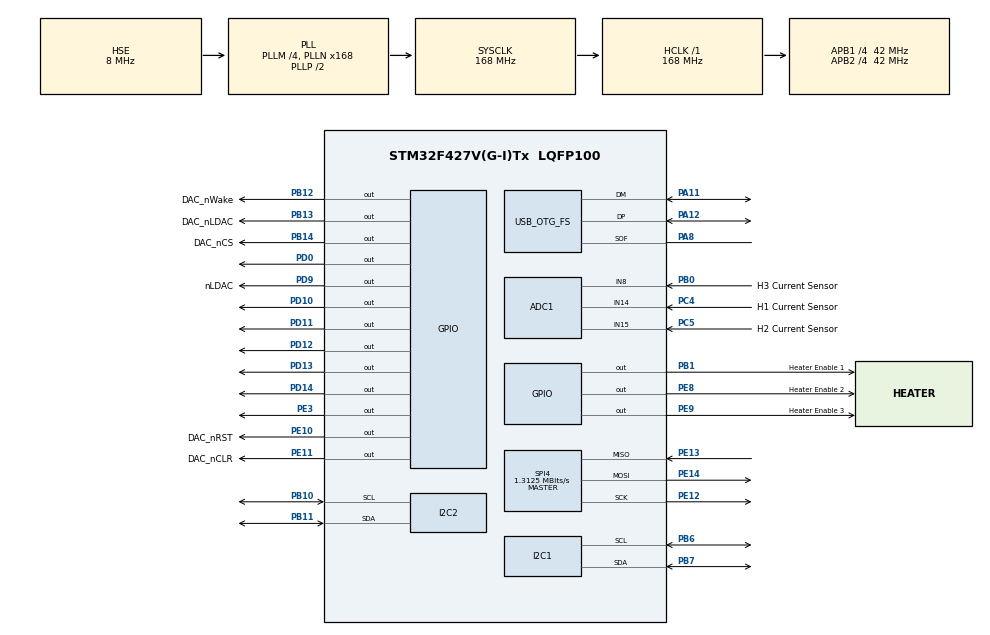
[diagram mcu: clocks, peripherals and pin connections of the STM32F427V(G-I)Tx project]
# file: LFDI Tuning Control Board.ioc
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ADC1.Channel-0\#ChannelRegularConversion=ADC_CHANNEL_14
ADC1.Channel-1\#ChannelRegularConversion=ADC_CHANNEL_15
ADC1.Channel-2\#ChannelRegularConversion=ADC_CHANNEL_8
ADC1.InjNumberOfConversion=0
ADC1.NbrOfConversion=3
ADC1.NbrOfConversionFlag=1
ADC1.Rank-0\#ChannelRegularConversion=1
ADC1.Rank-1\#ChannelRegularConversion=2
ADC1.Rank-2\#ChannelRegularConversion=3
ADC1.SamplingTime-0\#ChannelRegularConversion=ADC_SAMPLETIME_56CYCLES
ADC1.SamplingTime-1\#ChannelRegularConversion=ADC_SAMPLETIME_56CYCLES
ADC1.SamplingTime-2\#ChannelRegularConversion=ADC_SAMPLETIME_56CYCLES
ADC1.ScanConvMode=ENABLE
ADC1.master=1
Mcu.Family=STM32F4
Mcu.Name=STM32F427V(G-I)Tx
Mcu.Package=LQFP100
NVIC.I2C1_ER_IRQn=true\:0\:0\:false\:false\:true\:true\:true\:true
NVIC.I2C1_EV_IRQn=true\:0\:0\:false\:false\:true\:true\:true\:true
NVIC.OTG_FS_IRQn=true\:0\:0\:false\:false\:true\:false\:true\:true
NVIC.PriorityGroup=NVIC_PRIORITYGROUP_4
NVIC.SPI4_IRQn=true\:0\:0\:false\:false\:true\:true\:true\:true
NVIC.TIM1_BRK_TIM9_IRQn=true\:0\:0\:false\:false\:true\:true\:true\:true
NVIC.TIM2_IRQn=true\:0\:0\:false\:false\:true\:true\:true\:true
NVIC.TIM4_IRQn=true\:0\:0\:false\:false\:true\:true\:true\:true
NVIC.TIM6_DAC_IRQn=true\:0\:0\:false\:false\:true\:true\:true\:true
PA0/WKUP.Signal=UART4_TX
PA1.Signal=UART4_RX
PA11.Mode=Device_Only
PA11.Signal=USB_OTG_FS_DM
PA12.Mode=Device_Only
PA12.Signal=USB_OTG_FS_DP
PA13.Mode=Serial_Wire
PA13.Signal=SYS_JTMS-SWDIO
PA14.Mode=Serial_Wire
PA14.Signal=SYS_JTCK-SWCLK
PA4.Signal=SPI1_NSS
PA5.Signal=SPI1_SCK
PA6.Signal=SPI1_MISO
PA7.Signal=SPI1_MOSI
PA8.Mode=Activate_SOF_FS
PA8.Signal=USB_OTG_FS_SOF
PB0.GPIO_Label=H3 Current Sensor
PB0.Signal=ADCx_IN8
PB1.GPIO_Label=Heater Enable 1
PB1.Signal=GPIO_Output
PB10.Mode=I2C
PB10.Signal=I2C2_SCL
PB11.Mode=I2C
PB11.Signal=I2C2_SDA
PB12.GPIO_Label=DAC_nWake
PB12.Signal=GPIO_Output
PB13.GPIO_Label=DAC_nLDAC
PB13.Signal=GPIO_Output
PB14.GPIO_Label=DAC_nCS
PB14.Signal=GPIO_Output
PB6.Mode=I2C
PB6.Signal=I2C1_SCL
PB7.Mode=I2C
PB7.Signal=I2C1_SDA
PC10.Signal=SDIO_D2
PC11.Signal=SDIO_D3
PC12.Signal=SDIO_CK
PC4.GPIO_Label=H1 Current Sensor
PC4.Signal=ADCx_IN14
PC5.GPIO_Label=H2 Current Sensor
PC5.Signal=ADCx_IN15
PC8.Signal=SDIO_D0
PC9.Signal=SDIO_D1
PD0.Signal=GPIO_Output
PD10.Signal=GPIO_Output
PD11.Signal=GPIO_Output
PD12.Signal=GPIO_Output
PD13.Signal=GPIO_Output
PD14.Signal=GPIO_Output
PD2.Signal=SDIO_CMD
PD9.GPIO_Label=nLDAC
PD9.GPIO_Speed=GPIO_SPEED_FREQ_HIGH
PD9.PinState=GPIO_PIN_SET
PD9.Signal=GPIO_Output
PE10.GPIO_Label=DAC_nRST
PE10.GPIO_Speed=GPIO_SPEED_FREQ_HIGH
PE10.PinState=GPIO_PIN_SET
PE10.Signal=GPIO_Output
PE11.GPIO_Label=DAC_nCLR
PE11.GPIO_Speed=GPIO_SPEED_FREQ_HIGH
PE11.PinState=GPIO_PIN_SET
PE11.Signal=GPIO_Output
PE12.Mode=Full_Duplex_Master
PE12.Signal=SPI4_SCK
PE13.Mode=Full_Duplex_Master
PE13.Signal=SPI4_MISO
PE14.Mode=Full_Duplex_Master
PE14.Signal=SPI4_MOSI
PE3.Signal=GPIO_Output
PE8.GPIO_Label=Heater Enable 2
PE8.GPIO_Speed=GPIO_SPEED_FREQ_HIGH
PE8.PinState=GPIO_PIN_RESET
PE8.Signal=GPIO_Output
PE9.GPIO_Label=Heater Enable 3
PE9.GPIO_Speed=GPIO_SPEED_FREQ_HIGH
PE9.PinState=GPIO_PIN_SET
PE9.Signal=GPIO_Output
PH0/OSC_IN.Mode=HSE-External-Oscillator
PH0/OSC_IN.Signal=RCC_OSC_IN
PH1/OSC_OUT.Mode=HSE-External-Oscillator
PH1/OSC_OUT.Signal=RCC_OSC_OUT
ProjectManager.HeapSize=0x200
ProjectManager.StackSize=0x400
ProjectManager.TargetToolchain=STM32CubeIDE
RCC.48MHZClocksFreq_Value=48000000
RCC.AHBFreq_Value=168000000
RCC.APB1CLKDivider=RCC_HCLK_DIV4
RCC.APB1Freq_Value=42000000
RCC.APB1TimFreq_Value=84000000
RCC.APB2CLKDivider=RCC_HCLK_DIV4
RCC.APB2Freq_Value=42000000
RCC.APB2TimFreq_Value=84000000
RCC.CortexFreq_Value=168000000
RCC.HCLKFreq_Value=168000000
RCC.HSE_VALUE=8000000
RCC.HSI_VALUE=16000000
RCC.LSE_VALUE=32768
RCC.PLLM=4
RCC.PLLN=168
RCC.PLLQ=7
RCC.SYSCLKFreq_VALUE=168000000
RCC.SYSCLKSource=RCC_SYSCLKSOURCE_PLLCLK
RCC.VCOOutputFreq_Value=336000000
SH.ADCx_IN14.0=ADC1_IN14,IN14
SH.ADCx_IN15.0=ADC1_IN15,IN15
SH.ADCx_IN8.0=ADC1_IN8,IN8
SPI4.BaudRatePrescaler=SPI_BAUDRATEPRESCALER_32
SPI4.CLKPhase=SPI_PHASE_2EDGE
SPI4.CLKPolarity=SPI_POLARITY_LOW
SPI4.CalculateBaudRate=1.3125 MBits/s
SPI4.DataSize=SPI_DATASIZE_8BIT
SPI4.Direction=SPI_DIRECTION_2LINES
SPI4.FirstBit=SPI_FIRSTBIT_MSB
SPI4.Mode=SPI_MODE_MASTER
SPI4.TIMode=SPI_TIMODE_DISABLE
SPI4.VirtualType=VM_MASTER
TIM2.AutoReloadPreload=TIM_AUTORELOAD_PRELOAD_ENABLE
TIM2.Period=50
TIM2.Prescaler=420
TIM4.AutoReloadPreload=TIM_AUTORELOAD_PRELOAD_ENABLE
TIM4.ClockDivision=TIM_CLOCKDIVISION_DIV4
TIM4.Period=100
TIM4.Prescaler=4200
TIM6.AutoReloadPreload=TIM_AUTORELOAD_PRELOAD_ENABLE
TIM6.Period=100
TIM6.Prescaler=1680
TIM9.AutoReloadPreload=TIM_AUTORELOAD_PRELOAD_ENABLE
TIM9.Period=50
TIM9.Prescaler=420
USB_DEVICE.CLASS_NAME_FS=CDC
USB_DEVICE.VirtualMode-CDC_FS=Cdc
USB_DEVICE.VirtualModeFS=Cdc_FS
USB_OTG_FS.VirtualMode=Device_Only
VP_TIM2_VS_ClockSourceINT.Mode=Internal
VP_TIM4_VS_ClockSourceINT.Mode=Internal
VP_TIM6_VS_ClockSourceINT.Mode=Enable_Timer
VP_TIM9_VS_ClockSourceINT.Mode=Internal
VP_USB_DEVICE_VS_USB_DEVICE_CDC_FS.Mode=CDC_FS
board=custom

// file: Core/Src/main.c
/* USER CODE BEGIN Header */
/**
  ******************************************************************************
  * @file           : main.c
  * @brief          : Main program body
  ******************************************************************************
  * @attention
  *
  * Copyright (c) 2022 STMicroelectronics.
  * All rights reserved.
  *
  * This software is licensed under terms that can be found in the LICENSE file
  * in the root directory of this software component.
  * If no LICENSE file comes with this software, it is provided AS-IS.
  *
  ******************************************************************************
  */
/* USER CODE END Header */
#include "main.h"
#include "usb_device.h"

/* USER CODE BEGIN Includes */
#include "PID.h"
#include "TuningControlBoard.h"
#include "stringfifo.h"
#include "UI.h"
#include "TMP117.h"
#include "DAC.h"
#include "funcs.h"
#include "DAC_Unit_Test.h"
#include "stm32f4xx_hal.h"
#include "usbd_cdc_if.h"

//#include "usbd_cdc_if.h"

/* USER CODE END Includes */

ADC_HandleTypeDef hadc1;

I2C_HandleTypeDef hi2c1;
I2C_HandleTypeDef hi2c2;

SPI_HandleTypeDef hspi4;

TIM_HandleTypeDef htim2;
TIM_HandleTypeDef htim4;
TIM_HandleTypeDef htim6;
TIM_HandleTypeDef htim9;

/* USER CODE BEGIN PV */

//These are all from Damons Code----------------------------
volatile bool DoSampleTMP117 = false;
volatile bool DoCalculateOffsetCorrection = false;
volatile bool DoSampleCurrentSensor = false;

// we keep our own local copy of these
// we put this here for quick interrupt access
volatile uint16_t HeaterTick[NUMOFHEATERCONTROLLERS] = {0};
volatile uint16_t HeaterSubtick[NUMOFHEATERCONTROLLERS] = {0};
volatile uint16_t HeaterTickDivider[NUMOFHEATERCONTROLLERS] = {0};
volatile uint8_t HeaterDwell[NUMOFHEATERCONTROLLERS] = {0};

volatile uint16_t Ticks_OffsetCalculation = 0;
volatile uint8_t Ticks_TMP117 = 0;
volatile uint8_t Ticks_CurrentSensor = 0;
volatile uint16_t Tick_ms = 0;
volatile uint16_t ElapsedSeconds = 0;

volatile bool AutoFlood = false;
//End Damons Code-----------------------------------
struct sTuningControlBoard TCB;

struct sStringFIFO USBFIFO;
/* USER CODE END PV */

void SystemClock_Config(void);
static void MX_GPIO_Init(void);
static void MX_SPI4_Init(void);
static void MX_I2C1_Init(void);
static void MX_TIM2_Init(void);
static void MX_TIM4_Init(void);
static void MX_TIM6_Init(void);
static void MX_I2C2_Init(void);
static void MX_TIM9_Init(void);
static void MX_ADC1_Init(void);

/* USER CODE BEGIN 0 */
//This Interrupt is called every .25ms Will Toggle the State of the Dac Channels
void HAL_TIM_PeriodElapsedCallback(TIM_HandleTypeDef *htim){
  uint16_t i;
  // Check which version of the timer triggered this callback and toggle LED
  //This is the Timer for the DAC Compensator. Should happen 4000 times a second
	if (htim == &htim2 ){
		//Synchronous Update of the DACs
		for (i = 0; i < NUMOFCOMPENSATORS; i++){
		  if(TCB.Compensator[i].Channel.enabled){
			if(TCB.Compensator[i].Channel.state_high){

			  Set_DAC_Value(&TCB.DAC8718, TCB.Compensator[i].Channel.DAC_number, TCB.Compensator[i].Channel.lower_bound);
			  TCB.Compensator[i].Channel.state_high = false;
			}else{
			  Set_DAC_Value(&TCB.DAC8718, TCB.Compensator[i].Channel.DAC_number, TCB.Compensator[i].Channel.upper_bound);
			  TCB.Compensator[i].Channel.state_high = true;
			}
		  }
		}//End For
		//This is a General Purpose Timer for Bipolar Output
		//Go Through Every Bipolar Output
		for (i = 0; i < NUMOFBipolarOutputs; i++){
		  //If the Bipolar Output is enabled
		  if(TCB.BipolarOutput[i].Enabled && TCB.BipolarOutput[i].Pulses > 0){
			//If the Timer is 0 then toggle the output
			if(TCB.BipolarOutput[i].Timer == 0){
			  if(TCB.BipolarOutput[i].Channel.state_high){
				Set_DAC_Value(&TCB.DAC8718, TCB.BipolarOutput[i].Channel.DAC_number, TCB.BipolarOutput[i].Channel.lower_bound);
				TCB.BipolarOutput[i].Channel.state_high = false;
				TCB.BipolarOutput[i].Pulses--;
				if(TCB.BipolarOutput[i].Pulses == 0){
					Set_DAC_Value(&TCB.DAC8718, TCB.BipolarOutput[i].Channel.DAC_number, 0x7FFF);
					TCB.BipolarOutput[i].Channel.state_high = false;
					TCB.BipolarOutput[i].Enabled = false;
				}
			  }else{
				Set_DAC_Value(&TCB.DAC8718, TCB.BipolarOutput[i].Channel.DAC_number, TCB.BipolarOutput[i].Channel.upper_bound);
				TCB.BipolarOutput[i].Channel.state_high = true;
			  }
			  //Reload the Timer
			  BipolarOutput_TimerReload(&TCB.BipolarOutput[i]);
			//If the Timer is not 0 then decrement the timer
			}else{
			  TCB.BipolarOutput[i].Timer--;
			}
		  }//End Bipolar Output Update
		}//End For loop

		Syncronous_Update();
  }//End Timer 2

  //Timer For Heaters
  if (htim == &htim6)
  {
    for (i=0; i<NUMOFHEATERCONTROLLERS; i++)
    {
      HeaterSubtick[i] += 1;

      if (HeaterSubtick[i] >= HeaterTickDivider[i])
      {
        HeaterTick[i] = (HeaterTick[i] + 1) % 200;
        HeaterSubtick[i] = 0;
      }
    }

    for (i=0; i<NUMOFHEATERCONTROLLERS; i++)
      if ((HeaterTick[i] > HeaterDwell[i])
        && (HeaterTick[i] < (200 - HeaterDwell[i])))
        HeaterController_SetHeater(i, true);
      else
        HeaterController_SetHeater(i, false);

  }//End Timer 3

  //Clock Tick for Sampling TMP117
  if (htim == &htim4)
  {
    Tick_ms = (Tick_ms + 1) % 1000;
    // this should be after the ClockTick increment
    if (Tick_ms == 0)
    {
      ElapsedSeconds++;
      Ticks_OffsetCalculation++;
    }
    //Sampling @130ms
    if (++Ticks_TMP117 >= 130)
    {
      Ticks_TMP117 = 0;
      DoSampleTMP117 = true;
    }

    //Sampling Current Sensors @130ms (same as TMP117)
    if (++Ticks_CurrentSensor >= 130)
    {
      Ticks_CurrentSensor = 0;
      DoSampleCurrentSensor = true;
    }

    if (Ticks_OffsetCalculation > 60)
    {
      Ticks_OffsetCalculation = 0;
      DoCalculateOffsetCorrection = true;
    }

  }
}

/* USER CODE END 0 */

int main(void)
{

  /* USER CODE BEGIN 1 */
  char buffer[50];
  int i;
  /* USER CODE END 1 */

  /* MCU Configuration--------------------------------------------------------*/

  /* Reset of all peripherals, Initializes the Flash interface and the Systick. */
  HAL_Init();

  /* USER CODE BEGIN Init */

  StringFIFOInit(&USBFIFO);

  /* USER CODE END Init */

  /* Configure the system clock */
  SystemClock_Config();

  /* USER CODE BEGIN SysInit */

  InitDWTTimer(); // we need this for delay_us

  /* USER CODE END SysInit */

  /* Initialize all configured peripherals */
  MX_GPIO_Init();
  MX_SPI4_Init();
  MX_I2C1_Init();
  MX_TIM2_Init();
  MX_USB_DEVICE_Init();
  MX_TIM4_Init();
  MX_TIM6_Init();
  MX_I2C2_Init();
  MX_TIM9_Init();
  MX_ADC1_Init();
  /* USER CODE BEGIN 2 */
  TCB_InitStruct(&TCB, &hi2c1, &hi2c2, &hspi4);
  for (i = 0; i < 6; i++){
    TCB.DAC8718.DAC_Channels[i].enabled = true;
    TCB.DAC8718.DAC_Channels[i].DAC_number = i;
    TCB.DAC8718.DAC_Channels[i].lower_bound = 0x7FFF;
    TCB.DAC8718.DAC_Channels[i].upper_bound = 0x7FFF;
    TCB.DAC8718.DAC_Channels[i].state_high = false;
  }
  HAL_Delay(500);
  printf("-- REBOOT --\n");

 // HAL_TIM_Base_Start_IT(&htim2);

  for(i = 0; i< NUMOFHEATERCONTROLLERS; i++)
      HeaterController_SetHeater(i, true);
  for(i = 0; i< NUMOFHEATERCONTROLLERS; i++)
      HeaterController_SetHeater(i, false);

  for(i = 0; i< NUMOFHEATERCONTROLLERS; i++){
    TMP117_Configure(&TCB.HeaterControllers[i].Sensor);
  }
  for(i = 0; i< NUMOFCOMPENSATORS; i++){
	  TMP117_Configure(&TCB.Compensator[i].Sensor);
  }

  HAL_TIM_Base_Start_IT(&htim2); //DAC Timer
  HAL_TIM_Base_Start_IT(&htim6); // Heater Timer
  HAL_TIM_Base_Start_IT(&htim4); // Main Timer

  //Turn on the 15V rails
  Set_Pos_15V(true);
  //Delay to allow the 15V rails to stabilize
  HAL_Delay(1000);
  Set_Neg_15V(true);

  /* USER CODE END 2 */

  /* Infinite loop */
  /* USER CODE BEGIN WHILE */
  // float voltage = 0;
  // float voltage2 = 0;

  //SUPER LOOP!!!!
  while (1)
  {
    /* USER CODE END WHILE */

    /* USER CODE BEGIN 3 */

//	  uint16_t voltage;
//	  uint16_t voltage2;
    //Cycle through the DAC channels and set them to the opposite state and increase and decrease the voltage
//     for (voltage = 0; voltage < TCB.DAC8718.max_peak2peak; voltage += 0.1){
//		   for(uint8_t j = 0; j < 3; j++){
//		 	  Set_Voltage_Peak_to_Peak(&TCB.DAC8718.DAC_Channels[j], &voltage);
//		   }
//		   voltage2 = TCB.DAC8718.max_peak2peak - voltage;
//		   for(uint8_t j = 3; j < 6; j++){
//		 	  Set_Voltage_Peak_to_Peak(&TCB.DAC8718.DAC_Channels[j], &voltage2);
//		   }
//		   //HAL_Delay(100);
//	   }

    // we keep a global copy of this for the timer interrupt
    for (i=0; i<NUMOFHEATERCONTROLLERS; i++)
      HeaterTickDivider[i] = MAX(1, TCB.HeaterControllers[i].PwmPeriod_ms / 20);

    //Set the heater to the opposite state its currently in
	  //Just to Test. Here is the

		Compensator_Update(&TCB.Compensator[0]);
		Compensator_Update(&TCB.Compensator[1]);
		Compensator_Update(&TCB.Compensator[2]);
		Compensator_Update(&TCB.Compensator[3]);
		Compensator_Update(&TCB.Compensator[4]);
		Compensator_Update(&TCB.Compensator[5]);

		//This is set by an interrupt timer. When this is true the system will go through and take a sample
		if (DoSampleTMP117){
			//If there are a ton of error restart the I2C bus to see if that helps
			DoSampleTMP117 = false;
			//For each of the compensators
			for(uint8_t i = 0; i<NUMOFCOMPENSATORS;i++){
				//If there are errors Restart the Buses
				if (TCB.Compensator[i].Sensor.Errors > 10){
					MX_I2C1_Init();
					MX_I2C2_Init();
				}
				if (TCB.Compensator[i].Sensor.Configured){
					TMP117_GetTemperature(&TCB.Compensator[i].Sensor);
				}else{
					TMP117_Configure(&TCB.Compensator[i].Sensor);
				}
			}//End Compensator For loop
			//For all of the HeaterControllers
			for (int i = 0; i < NUMOFHEATERCONTROLLERS; i++){
				if (TCB.HeaterControllers[i].Sensor.Errors > 10){
					MX_I2C1_Init();
					MX_I2C2_Init();
				}
				if (TCB.HeaterControllers[i].Sensor.Configured){
					TMP117_GetTemperature(&TCB.HeaterControllers[i].Sensor);
				}else{
					TMP117_Configure(&TCB.HeaterControllers[i].Sensor);
				}
        HeaterController_Step(&TCB.HeaterControllers[i]);
			}//End Controller For loop
		  }//End do Sample

		//Sample Current Sensors
		if (DoSampleCurrentSensor){
			DoSampleCurrentSensor = false;
			for(uint8_t i = 0; i < NUMOFCurrentSensors; i++){
				CurrentSensor_GetCurrent(&TCB.CurrentSensor[i]);
			}
		}

    if (DoCalculateOffsetCorrection)
    {
      DoCalculateOffsetCorrection = false;
      for (i=0; i<4; i++)
        if (TCB.HeaterControllers[i].HeaterEnabled)
          PID_PerformOffsetCorrection(&TCB.HeaterControllers[i].PID);
    }

		if (StringFIFORemove(&USBFIFO, buffer) == 0)
		{
		  ProcessUserInput(&TCB, buffer);
		}

	}
  /* USER CODE END 3 */
}

void SystemClock_Config(void)
{
  RCC_OscInitTypeDef RCC_OscInitStruct = {0};
  RCC_ClkInitTypeDef RCC_ClkInitStruct = {0};

  /** Configure the main internal regulator output voltage
  */
  __HAL_RCC_PWR_CLK_ENABLE();
  __HAL_PWR_VOLTAGESCALING_CONFIG(PWR_REGULATOR_VOLTAGE_SCALE1);

  /** Initializes the RCC Oscillators according to the specified parameters
  * in the RCC_OscInitTypeDef structure.
  */
  RCC_OscInitStruct.OscillatorType = RCC_OSCILLATORTYPE_HSE;
  RCC_OscInitStruct.HSEState = RCC_HSE_ON;
  RCC_OscInitStruct.PLL.PLLState = RCC_PLL_ON;
  RCC_OscInitStruct.PLL.PLLSource = RCC_PLLSOURCE_HSE;
  RCC_OscInitStruct.PLL.PLLM = 4;
  RCC_OscInitStruct.PLL.PLLN = 168;
  RCC_OscInitStruct.PLL.PLLP = RCC_PLLP_DIV2;
  RCC_OscInitStruct.PLL.PLLQ = 7;
  if (HAL_RCC_OscConfig(&RCC_OscInitStruct) != HAL_OK)
  {
    Error_Handler();
  }

  /** Initializes the CPU, AHB and APB buses clocks
  */
  RCC_ClkInitStruct.ClockType = RCC_CLOCKTYPE_HCLK|RCC_CLOCKTYPE_SYSCLK
                              |RCC_CLOCKTYPE_PCLK1|RCC_CLOCKTYPE_PCLK2;
  RCC_ClkInitStruct.SYSCLKSource = RCC_SYSCLKSOURCE_PLLCLK;
  RCC_ClkInitStruct.AHBCLKDivider = RCC_SYSCLK_DIV1;
  RCC_ClkInitStruct.APB1CLKDivider = RCC_HCLK_DIV4;
  RCC_ClkInitStruct.APB2CLKDivider = RCC_HCLK_DIV4;

  if (HAL_RCC_ClockConfig(&RCC_ClkInitStruct, FLASH_LATENCY_5) != HAL_OK)
  {
    Error_Handler();
  }
}

static void MX_ADC1_Init(void)
{

  ADC_ChannelConfTypeDef sConfig = {0};

  /** Configure the global features of the ADC (Clock, Resolution, Data Alignment and number of conversion)
  */
  hadc1.Instance = ADC1;
  hadc1.Init.ClockPrescaler = ADC_CLOCK_SYNC_PCLK_DIV2;
  hadc1.Init.Resolution = ADC_RESOLUTION_12B;
  hadc1.Init.ScanConvMode = ENABLE;
  hadc1.Init.ContinuousConvMode = DISABLE;
  hadc1.Init.DiscontinuousConvMode = DISABLE;
  hadc1.Init.ExternalTrigConvEdge = ADC_EXTERNALTRIGCONVEDGE_NONE;
  hadc1.Init.ExternalTrigConv = ADC_SOFTWARE_START;
  hadc1.Init.DataAlign = ADC_DATAALIGN_RIGHT;
  hadc1.Init.NbrOfConversion = 3;
  hadc1.Init.DMAContinuousRequests = DISABLE;
  hadc1.Init.EOCSelection = ADC_EOC_SINGLE_CONV;
  if (HAL_ADC_Init(&hadc1) != HAL_OK)
  {
    Error_Handler();
  }

  /** Configure for the selected ADC regular channel its corresponding rank in the sequencer and its sample time.
  */
  sConfig.Channel = ADC_CHANNEL_14;
  sConfig.Rank = 1;
  sConfig.SamplingTime = ADC_SAMPLETIME_56CYCLES;
  if (HAL_ADC_ConfigChannel(&hadc1, &sConfig) != HAL_OK)
  {
    Error_Handler();
  }

  /** Configure for the selected ADC regular channel its corresponding rank in the sequencer and its sample time.
  */
  sConfig.Channel = ADC_CHANNEL_15;
  sConfig.Rank = 2;
  if (HAL_ADC_ConfigChannel(&hadc1, &sConfig) != HAL_OK)
  {
    Error_Handler();
  }

  /** Configure for the selected ADC regular channel its corresponding rank in the sequencer and its sample time.
  */
  sConfig.Channel = ADC_CHANNEL_8;
  sConfig.Rank = 3;
  if (HAL_ADC_ConfigChannel(&hadc1, &sConfig) != HAL_OK)
  {
    Error_Handler();
  }

}

static void MX_I2C1_Init(void)
{

  hi2c1.Instance = I2C1;
  hi2c1.Init.ClockSpeed = 100000;
  hi2c1.Init.DutyCycle = I2C_DUTYCYCLE_2;
  hi2c1.Init.OwnAddress1 = 0;
  hi2c1.Init.AddressingMode = I2C_ADDRESSINGMODE_7BIT;
  hi2c1.Init.DualAddressMode = I2C_DUALADDRESS_DISABLE;
  hi2c1.Init.OwnAddress2 = 0;
  hi2c1.Init.GeneralCallMode = I2C_GENERALCALL_DISABLE;
  hi2c1.Init.NoStretchMode = I2C_NOSTRETCH_DISABLE;
  if (HAL_I2C_Init(&hi2c1) != HAL_OK)
  {
    Error_Handler();
  }

  /** Configure Analogue filter
  */
  if (HAL_I2CEx_ConfigAnalogFilter(&hi2c1, I2C_ANALOGFILTER_ENABLE) != HAL_OK)
  {
    Error_Handler();
  }

  /** Configure Digital filter
  */
  if (HAL_I2CEx_ConfigDigitalFilter(&hi2c1, 0) != HAL_OK)
  {
    Error_Handler();
  }

}

static void MX_I2C2_Init(void)
{

  hi2c2.Instance = I2C2;
  hi2c2.Init.ClockSpeed = 100000;
  hi2c2.Init.DutyCycle = I2C_DUTYCYCLE_2;
  hi2c2.Init.OwnAddress1 = 0;
  hi2c2.Init.AddressingMode = I2C_ADDRESSINGMODE_7BIT;
  hi2c2.Init.DualAddressMode = I2C_DUALADDRESS_DISABLE;
  hi2c2.Init.OwnAddress2 = 0;
  hi2c2.Init.GeneralCallMode = I2C_GENERALCALL_DISABLE;
  hi2c2.Init.NoStretchMode = I2C_NOSTRETCH_DISABLE;
  if (HAL_I2C_Init(&hi2c2) != HAL_OK)
  {
    Error_Handler();
  }

  /** Configure Analogue filter
  */
  if (HAL_I2CEx_ConfigAnalogFilter(&hi2c2, I2C_ANALOGFILTER_ENABLE) != HAL_OK)
  {
    Error_Handler();
  }

  /** Configure Digital filter
  */
  if (HAL_I2CEx_ConfigDigitalFilter(&hi2c2, 0) != HAL_OK)
  {
    Error_Handler();
  }

}

static void MX_SPI4_Init(void)
{

  /* SPI4 parameter configuration*/
  hspi4.Instance = SPI4;
  hspi4.Init.Mode = SPI_MODE_MASTER;
  hspi4.Init.Direction = SPI_DIRECTION_2LINES;
  hspi4.Init.DataSize = SPI_DATASIZE_8BIT;
  hspi4.Init.CLKPolarity = SPI_POLARITY_LOW;
  hspi4.Init.CLKPhase = SPI_PHASE_2EDGE;
  hspi4.Init.NSS = SPI_NSS_SOFT;
  hspi4.Init.BaudRatePrescaler = SPI_BAUDRATEPRESCALER_32;
  hspi4.Init.FirstBit = SPI_FIRSTBIT_MSB;
  hspi4.Init.TIMode = SPI_TIMODE_DISABLE;
  hspi4.Init.CRCCalculation = SPI_CRCCALCULATION_DISABLE;
  hspi4.Init.CRCPolynomial = 10;
  if (HAL_SPI_Init(&hspi4) != HAL_OK)
  {
    Error_Handler();
  }

}

static void MX_TIM2_Init(void)
{

  TIM_ClockConfigTypeDef sClockSourceConfig = {0};
  TIM_MasterConfigTypeDef sMasterConfig = {0};

  htim2.Instance = TIM2;
  htim2.Init.Prescaler = 420;
  htim2.Init.CounterMode = TIM_COUNTERMODE_UP;
  htim2.Init.Period = 50;
  htim2.Init.ClockDivision = TIM_CLOCKDIVISION_DIV1;
  htim2.Init.AutoReloadPreload = TIM_AUTORELOAD_PRELOAD_ENABLE;
  if (HAL_TIM_Base_Init(&htim2) != HAL_OK)
  {
    Error_Handler();
  }
  sClockSourceConfig.ClockSource = TIM_CLOCKSOURCE_INTERNAL;
  if (HAL_TIM_ConfigClockSource(&htim2, &sClockSourceConfig) != HAL_OK)
  {
    Error_Handler();
  }
  sMasterConfig.MasterOutputTrigger = TIM_TRGO_RESET;
  sMasterConfig.MasterSlaveMode = TIM_MASTERSLAVEMODE_DISABLE;
  if (HAL_TIMEx_MasterConfigSynchronization(&htim2, &sMasterConfig) != HAL_OK)
  {
    Error_Handler();
  }

}

static void MX_TIM4_Init(void)
{

  TIM_ClockConfigTypeDef sClockSourceConfig = {0};
  TIM_MasterConfigTypeDef sMasterConfig = {0};

  htim4.Instance = TIM4;
  htim4.Init.Prescaler = 4200;
  htim4.Init.CounterMode = TIM_COUNTERMODE_UP;
  htim4.Init.Period = 100;
  htim4.Init.ClockDivision = TIM_CLOCKDIVISION_DIV4;
  htim4.Init.AutoReloadPreload = TIM_AUTORELOAD_PRELOAD_ENABLE;
  if (HAL_TIM_Base_Init(&htim4) != HAL_OK)
  {
    Error_Handler();
  }
  sClockSourceConfig.ClockSource = TIM_CLOCKSOURCE_INTERNAL;
  if (HAL_TIM_ConfigClockSource(&htim4, &sClockSourceConfig) != HAL_OK)
  {
    Error_Handler();
  }
  sMasterConfig.MasterOutputTrigger = TIM_TRGO_RESET;
  sMasterConfig.MasterSlaveMode = TIM_MASTERSLAVEMODE_DISABLE;
  if (HAL_TIMEx_MasterConfigSynchronization(&htim4, &sMasterConfig) != HAL_OK)
  {
    Error_Handler();
  }

}

static void MX_TIM6_Init(void)
{

  TIM_MasterConfigTypeDef sMasterConfig = {0};

  htim6.Instance = TIM6;
  htim6.Init.Prescaler = 1680;
  htim6.Init.CounterMode = TIM_COUNTERMODE_UP;
  htim6.Init.Period = 100;
  htim6.Init.AutoReloadPreload = TIM_AUTORELOAD_PRELOAD_ENABLE;
  if (HAL_TIM_Base_Init(&htim6) != HAL_OK)
  {
    Error_Handler();
  }
  sMasterConfig.MasterOutputTrigger = TIM_TRGO_RESET;
  sMasterConfig.MasterSlaveMode = TIM_MASTERSLAVEMODE_DISABLE;
  if (HAL_TIMEx_MasterConfigSynchronization(&htim6, &sMasterConfig) != HAL_OK)
  {
    Error_Handler();
  }

}

static void MX_TIM9_Init(void)
{

  TIM_ClockConfigTypeDef sClockSourceConfig = {0};

  htim9.Instance = TIM9;
  htim9.Init.Prescaler = 420;
  htim9.Init.CounterMode = TIM_COUNTERMODE_UP;
  htim9.Init.Period = 50;
  htim9.Init.ClockDivision = TIM_CLOCKDIVISION_DIV1;
  htim9.Init.AutoReloadPreload = TIM_AUTORELOAD_PRELOAD_ENABLE;
  if (HAL_TIM_Base_Init(&htim9) != HAL_OK)
  {
    Error_Handler();
  }
  sClockSourceConfig.ClockSource = TIM_CLOCKSOURCE_INTERNAL;
  if (HAL_TIM_ConfigClockSource(&htim9, &sClockSourceConfig) != HAL_OK)
  {
    Error_Handler();
  }

}

static void MX_GPIO_Init(void)
{
  GPIO_InitTypeDef GPIO_InitStruct = {0};

  /* GPIO Ports Clock Enable */
  __HAL_RCC_GPIOE_CLK_ENABLE();
  __HAL_RCC_GPIOH_CLK_ENABLE();
  __HAL_RCC_GPIOA_CLK_ENABLE();
  __HAL_RCC_GPIOC_CLK_ENABLE();
  __HAL_RCC_GPIOB_CLK_ENABLE();
  __HAL_RCC_GPIOD_CLK_ENABLE();

  /*Configure GPIO pin Output Level */
  HAL_GPIO_WritePin(GPIOE, GPIO_PIN_3|Heater_Enable_2_Pin, GPIO_PIN_RESET);

  /*Configure GPIO pin Output Level */
  HAL_GPIO_WritePin(GPIOB, Heater_Enable_1_Pin|DAC_nWake_Pin|DAC_nLDAC_Pin|DAC_nCS_Pin, GPIO_PIN_RESET);

  /*Configure GPIO pin Output Level */
  HAL_GPIO_WritePin(GPIOE, Heater_Enable_3_Pin|DAC_nRST_Pin|DAC_nCLR_Pin, GPIO_PIN_SET);

  /*Configure GPIO pin Output Level */
  HAL_GPIO_WritePin(nLDAC_GPIO_Port, nLDAC_Pin, GPIO_PIN_SET);

  /*Configure GPIO pin Output Level */
  HAL_GPIO_WritePin(GPIOD, GPIO_PIN_10|GPIO_PIN_11|GPIO_PIN_12|GPIO_PIN_13
                          |GPIO_PIN_14|GPIO_PIN_0, GPIO_PIN_RESET);

  /*Configure GPIO pin : PE3 */
  GPIO_InitStruct.Pin = GPIO_PIN_3;
  GPIO_InitStruct.Mode = GPIO_MODE_OUTPUT_PP;
  GPIO_InitStruct.Pull = GPIO_NOPULL;
  GPIO_InitStruct.Speed = GPIO_SPEED_FREQ_LOW;
  HAL_GPIO_Init(GPIOE, &GPIO_InitStruct);

  /*Configure GPIO pins : PA0 PA1 */
  GPIO_InitStruct.Pin = GPIO_PIN_0|GPIO_PIN_1;
  GPIO_InitStruct.Mode = GPIO_MODE_AF_PP;
  GPIO_InitStruct.Pull = GPIO_NOPULL;
  GPIO_InitStruct.Speed = GPIO_SPEED_FREQ_VERY_HIGH;
  GPIO_InitStruct.Alternate = GPIO_AF8_UART4;
  HAL_GPIO_Init(GPIOA, &GPIO_InitStruct);

  /*Configure GPIO pins : PA4 PA5 PA6 PA7 */
  GPIO_InitStruct.Pin = GPIO_PIN_4|GPIO_PIN_5|GPIO_PIN_6|GPIO_PIN_7;
  GPIO_InitStruct.Mode = GPIO_MODE_AF_PP;
  GPIO_InitStruct.Pull = GPIO_NOPULL;
  GPIO_InitStruct.Speed = GPIO_SPEED_FREQ_VERY_HIGH;
  GPIO_InitStruct.Alternate = GPIO_AF5_SPI1;
  HAL_GPIO_Init(GPIOA, &GPIO_InitStruct);

  /*Configure GPIO pins : Heater_Enable_1_Pin DAC_nWake_Pin DAC_nLDAC_Pin DAC_nCS_Pin */
  GPIO_InitStruct.Pin = Heater_Enable_1_Pin|DAC_nWake_Pin|DAC_nLDAC_Pin|DAC_nCS_Pin;
  GPIO_InitStruct.Mode = GPIO_MODE_OUTPUT_PP;
  GPIO_InitStruct.Pull = GPIO_NOPULL;
  GPIO_InitStruct.Speed = GPIO_SPEED_FREQ_LOW;
  HAL_GPIO_Init(GPIOB, &GPIO_InitStruct);

  /*Configure GPIO pins : Heater_Enable_2_Pin Heater_Enable_3_Pin DAC_nRST_Pin DAC_nCLR_Pin */
  GPIO_InitStruct.Pin = Heater_Enable_2_Pin|Heater_Enable_3_Pin|DAC_nRST_Pin|DAC_nCLR_Pin;
  GPIO_InitStruct.Mode = GPIO_MODE_OUTPUT_PP;
  GPIO_InitStruct.Pull = GPIO_NOPULL;
  GPIO_InitStruct.Speed = GPIO_SPEED_FREQ_HIGH;
  HAL_GPIO_Init(GPIOE, &GPIO_InitStruct);

  /*Configure GPIO pin : nLDAC_Pin */
  GPIO_InitStruct.Pin = nLDAC_Pin;
  GPIO_InitStruct.Mode = GPIO_MODE_OUTPUT_PP;
  GPIO_InitStruct.Pull = GPIO_NOPULL;
  GPIO_InitStruct.Speed = GPIO_SPEED_FREQ_HIGH;
  HAL_GPIO_Init(nLDAC_GPIO_Port, &GPIO_InitStruct);

  /*Configure GPIO pins : PD10 PD11 PD12 PD13
                           PD14 PD0 */
  GPIO_InitStruct.Pin = GPIO_PIN_10|GPIO_PIN_11|GPIO_PIN_12|GPIO_PIN_13
                          |GPIO_PIN_14|GPIO_PIN_0;
  GPIO_InitStruct.Mode = GPIO_MODE_OUTPUT_PP;
  GPIO_InitStruct.Pull = GPIO_NOPULL;
  GPIO_InitStruct.Speed = GPIO_SPEED_FREQ_LOW;
  HAL_GPIO_Init(GPIOD, &GPIO_InitStruct);

  /*Configure GPIO pins : PC8 PC9 PC10 PC11
                           PC12 */
  GPIO_InitStruct.Pin = GPIO_PIN_8|GPIO_PIN_9|GPIO_PIN_10|GPIO_PIN_11
                          |GPIO_PIN_12;
  GPIO_InitStruct.Mode = GPIO_MODE_AF_PP;
  GPIO_InitStruct.Pull = GPIO_NOPULL;
  GPIO_InitStruct.Speed = GPIO_SPEED_FREQ_VERY_HIGH;
  GPIO_InitStruct.Alternate = GPIO_AF12_SDIO;
  HAL_GPIO_Init(GPIOC, &GPIO_InitStruct);

  /*Configure GPIO pin : PD2 */
  GPIO_InitStruct.Pin = GPIO_PIN_2;
  GPIO_InitStruct.Mode = GPIO_MODE_AF_PP;
  GPIO_InitStruct.Pull = GPIO_NOPULL;
  GPIO_InitStruct.Speed = GPIO_SPEED_FREQ_VERY_HIGH;
  GPIO_InitStruct.Alternate = GPIO_AF12_SDIO;
  HAL_GPIO_Init(GPIOD, &GPIO_InitStruct);

}

/* USER CODE BEGIN 4 */

/* This allows printf to write to the debugger and USB */
/* USB needs #include "usbd_cdc_if.h" */
/* ITM Stimulus port 0 must be enabled in your trace settings */
int _write(int file, char *ptr, int len)
{
  int i, res;

  for (i=0;i<20; i++)
  {
    res = CDC_Transmit_FS((uint8_t*) ptr, len);  // USB out
    if (res == USBD_OK)
      break;
  }

  for (int i = 0; i < len; i++)
    ITM_SendChar((*ptr++));              // debugger out
  return len;
}

/* USER CODE END 4 */

void Error_Handler(void)
{
  __disable_irq();
  while (1)
  {
  }
}
